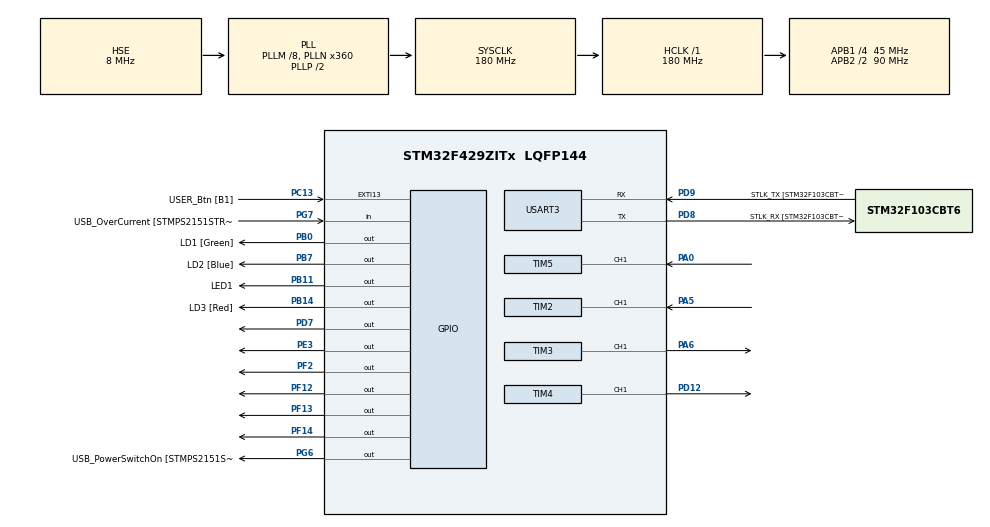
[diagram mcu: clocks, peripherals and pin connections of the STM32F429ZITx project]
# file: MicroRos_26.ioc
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Dma.Request0=USART3_RX
Dma.Request1=USART3_TX
Dma.USART3_RX.0.Direction=DMA_PERIPH_TO_MEMORY
Dma.USART3_RX.0.FIFOMode=DMA_FIFOMODE_DISABLE
Dma.USART3_RX.0.Instance=DMA1_Stream1
Dma.USART3_RX.0.MemDataAlignment=DMA_MDATAALIGN_BYTE
Dma.USART3_RX.0.MemInc=DMA_MINC_ENABLE
Dma.USART3_RX.0.Mode=DMA_CIRCULAR
Dma.USART3_RX.0.PeriphDataAlignment=DMA_PDATAALIGN_BYTE
Dma.USART3_RX.0.PeriphInc=DMA_PINC_DISABLE
Dma.USART3_RX.0.Priority=DMA_PRIORITY_VERY_HIGH
Dma.USART3_TX.1.Direction=DMA_MEMORY_TO_PERIPH
Dma.USART3_TX.1.FIFOMode=DMA_FIFOMODE_DISABLE
Dma.USART3_TX.1.Instance=DMA1_Stream3
Dma.USART3_TX.1.MemDataAlignment=DMA_MDATAALIGN_BYTE
Dma.USART3_TX.1.MemInc=DMA_MINC_ENABLE
Dma.USART3_TX.1.Mode=DMA_NORMAL
Dma.USART3_TX.1.PeriphDataAlignment=DMA_PDATAALIGN_BYTE
Dma.USART3_TX.1.PeriphInc=DMA_PINC_DISABLE
Dma.USART3_TX.1.Priority=DMA_PRIORITY_VERY_HIGH
FREERTOS.Tasks01=defaultTask,24,3000,StartDefaultTask,Default,NULL,Static,defaultTaskBuffer,defaultTaskControlBlock
Mcu.Family=STM32F4
Mcu.Name=STM32F429ZITx
Mcu.Package=LQFP144
NVIC.DMA1_Stream1_IRQn=true\:5\:0\:false\:false\:true\:true\:false\:true\:true
NVIC.DMA1_Stream3_IRQn=true\:5\:0\:false\:false\:true\:true\:false\:true\:true
NVIC.PriorityGroup=NVIC_PRIORITYGROUP_4
NVIC.TIM1_UP_TIM10_IRQn=true\:15\:0\:false\:false\:true\:false\:false\:true\:true
NVIC.TIM2_IRQn=true\:5\:0\:false\:false\:true\:true\:true\:true\:true
NVIC.TIM3_IRQn=true\:5\:0\:false\:false\:true\:true\:true\:true\:true
NVIC.TIM5_IRQn=true\:5\:0\:false\:false\:true\:true\:true\:true\:true
NVIC.TimeBase=TIM1_UP_TIM10_IRQn
NVIC.TimeBaseIP=TIM1
NVIC.USART3_IRQn=true\:5\:0\:false\:false\:true\:true\:true\:true\:true
PA0/WKUP.GPIO_Speed=GPIO_SPEED_FREQ_VERY_HIGH
PA0/WKUP.Signal=S_TIM5_CH1
PA1.GPIO_Label=RMII_REF_CLK [LAN8742A-CZ-TR_REFCLK0]
PA1.Signal=ETH_REF_CLK
PA10.GPIO_Label=USB_ID
PA10.Signal=USB_OTG_FS_ID
PA11.GPIO_Label=USB_DM
PA11.Signal=USB_OTG_FS_DM
PA12.GPIO_Label=USB_DP
PA12.Signal=USB_OTG_FS_DP
PA13.GPIO_Label=TMS
PA13.Mode=Serial_Wire
PA13.Signal=SYS_JTMS-SWDIO
PA14.GPIO_Label=TCK
PA14.Mode=Serial_Wire
PA14.Signal=SYS_JTCK-SWCLK
PA2.GPIO_Label=RMII_MDIO [LAN8742A-CZ-TR_MDIO]
PA2.Signal=ETH_MDIO
PA5.GPIO_Speed=GPIO_SPEED_FREQ_VERY_HIGH
PA5.Signal=S_TIM2_CH1_ETR
PA6.Signal=S_TIM3_CH1
PA7.GPIO_Label=RMII_CRS_DV [LAN8742A-CZ-TR_CRS_DV]
PA7.Signal=ETH_CRS_DV
PA8.GPIO_Label=USB_SOF [TP1]
PA8.Signal=USB_OTG_FS_SOF
PA9.GPIO_Label=USB_VBUS
PA9.Signal=USB_OTG_FS_VBUS
PB0.GPIO_Label=LD1 [Green]
PB0.Signal=GPIO_Output
PB11.GPIO_Label=LED1
PB11.GPIO_Speed=GPIO_SPEED_FREQ_VERY_HIGH
PB11.Signal=GPIO_Output
PB13.GPIO_Label=RMII_TXD1 [LAN8742A-CZ-TR_TXD1]
PB13.Signal=ETH_TXD1
PB14.GPIO_Label=LD3 [Red]
PB14.Signal=GPIO_Output
PB7.GPIO_Label=LD2 [Blue]
PB7.Signal=GPIO_Output
PC1.GPIO_Label=RMII_MDC [LAN8742A-CZ-TR_MDC]
PC1.Signal=ETH_MDC
PC13.GPIO_Label=USER_Btn [B1]
PC13.Signal=GPXTI13
PC14/OSC32_IN.Signal=RCC_OSC32_IN
PC15/OSC32_OUT.Signal=RCC_OSC32_OUT
PC4.GPIO_Label=RMII_RXD0 [LAN8742A-CZ-TR_RXD0]
PC4.Signal=ETH_RXD0
PC5.GPIO_Label=RMII_RXD1 [LAN8742A-CZ-TR_RXD1]
PC5.Signal=ETH_RXD1
PD12.Signal=S_TIM4_CH1
PD7.GPIO_ModeDefaultOutputPP=GPIO_MODE_OUTPUT_PP
PD7.GPIO_PuPd=GPIO_PULLUP
PD7.GPIO_Speed=GPIO_SPEED_FREQ_HIGH
PD7.PinState=GPIO_PIN_RESET
PD7.Signal=GPIO_Output
PD8.GPIO_Label=STLK_RX [STM32F103CBT6_PA3]
PD8.Mode=Asynchronous
PD8.Signal=USART3_TX
PD9.GPIO_Label=STLK_TX [STM32F103CBT6_PA2]
PD9.Mode=Asynchronous
PD9.Signal=USART3_RX
PE3.GPIO_ModeDefaultOutputPP=GPIO_MODE_OUTPUT_PP
PE3.GPIO_PuPd=GPIO_PULLUP
PE3.GPIO_Speed=GPIO_SPEED_FREQ_HIGH
PE3.PinState=GPIO_PIN_RESET
PE3.Signal=GPIO_Output
PF12.Signal=GPIO_Output
PF13.GPIO_ModeDefaultOutputPP=GPIO_MODE_OUTPUT_PP
PF13.GPIO_PuPd=GPIO_PULLUP
PF13.GPIO_Speed=GPIO_SPEED_FREQ_HIGH
PF13.PinState=GPIO_PIN_RESET
PF13.Signal=GPIO_Output
PF14.GPIO_ModeDefaultOutputPP=GPIO_MODE_OUTPUT_PP
PF14.GPIO_PuPd=GPIO_PULLUP
PF14.GPIO_Speed=GPIO_SPEED_FREQ_HIGH
PF14.PinState=GPIO_PIN_RESET
PF14.Signal=GPIO_Output
PF2.GPIO_ModeDefaultOutputPP=GPIO_MODE_OUTPUT_PP
PF2.GPIO_PuPd=GPIO_PULLUP
PF2.GPIO_Speed=GPIO_SPEED_FREQ_HIGH
PF2.PinState=GPIO_PIN_RESET
PF2.Signal=GPIO_Output
PG11.GPIO_Label=RMII_TX_EN [LAN8742A-CZ-TR_TXEN]
PG11.Signal=ETH_TX_EN
PG13.GPIO_Label=RMII_TXD0 [LAN8742A-CZ-TR_TXD0]
PG13.Signal=ETH_TXD0
PG6.GPIO_Label=USB_PowerSwitchOn [STMPS2151STR_EN]
PG6.Signal=GPIO_Output
PG7.GPIO_Label=USB_OverCurrent [STMPS2151STR_FAULT]
PG7.Signal=GPIO_Input
PH0/OSC_IN.GPIO_Label=MCO [STM32F103CBT6_PA8]
PH0/OSC_IN.Mode=HSE-External-Oscillator
PH0/OSC_IN.Signal=RCC_OSC_IN
PH1/OSC_OUT.Mode=HSE-External-Oscillator
PH1/OSC_OUT.Signal=RCC_OSC_OUT
ProjectManager.HeapSize=0x200
ProjectManager.StackSize=0x400
ProjectManager.TargetToolchain=STM32CubeIDE
RCC.48MHZClocksFreq_Value=90000000
RCC.AHBFreq_Value=180000000
RCC.APB1CLKDivider=RCC_HCLK_DIV4
RCC.APB1Freq_Value=45000000
RCC.APB1TimFreq_Value=90000000
RCC.APB2CLKDivider=RCC_HCLK_DIV2
RCC.APB2Freq_Value=90000000
RCC.APB2TimFreq_Value=180000000
RCC.CortexFreq_Value=180000000
RCC.HCLKFreq_Value=180000000
RCC.HSE_VALUE=8000000
RCC.HSI_VALUE=16000000
RCC.LSE_VALUE=32768
RCC.PLLM=8
RCC.PLLMUL=RCC_PLL_MUL9
RCC.PLLN=360
RCC.PLLSourceVirtual=RCC_PLLSOURCE_HSE
RCC.PRESCALERUSB=RCC_USBCLKSOURCE_PLL_DIV1_5
RCC.SYSCLKFreq_VALUE=180000000
RCC.SYSCLKSource=RCC_SYSCLKSOURCE_PLLCLK
RCC.SYSCLKSourceVirtual=RCC_SYSCLKSOURCE_PLLCLK
RCC.USBFreq_Value=48000000
RCC.VCOOutputFreq_Value=360000000
SH.S_TIM2_CH1_ETR.0=TIM2_CH1,Input_Capture1_from_TI1
SH.S_TIM3_CH1.0=TIM3_CH1,PWM Generation1 CH1
SH.S_TIM4_CH1.0=TIM4_CH1,PWM Generation1 CH1
SH.S_TIM5_CH1.0=TIM5_CH1,Input_Capture1_from_TI1
TIM2.Channel-Input_Capture1_from_TI1=TIM_CHANNEL_1
TIM2.Period=100
TIM2.Prescaler=9
TIM3.Channel-PWM\ Generation1\ CH1=TIM_CHANNEL_1
TIM3.Period=99
TIM3.Prescaler=89
TIM3.Pulse-PWM\ Generation1\ CH1=0
TIM4.Channel-PWM\ Generation1\ CH1=TIM_CHANNEL_1
TIM4.Period=99
TIM4.Prescaler=89
TIM4.Pulse-PWM\ Generation1\ CH1=0
TIM5.Channel-Input_Capture1_from_TI1=TIM_CHANNEL_1
TIM9.Period=9999
TIM9.Prescaler=8999
USART3.VirtualMode=VM_ASYNC
VP_FREERTOS_VS_CMSIS_V2.Mode=CMSIS_V2
VP_SYS_VS_tim1.Mode=TIM1
VP_TIM3_VS_ClockSourceINT.Mode=Internal
VP_TIM4_VS_ClockSourceINT.Mode=Internal
VP_TIM9_VS_ClockSourceINT.Mode=Internal
board=NUCLEO-F429ZI

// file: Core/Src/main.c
/* USER CODE BEGIN Header */
/**
  ******************************************************************************
  * @file           : main.c
  * @brief          : Main program body
  ******************************************************************************
  * @attention
  *
  * Copyright (c) 2024 STMicroelectronics.
  * All rights reserved.
  *
  * This software is licensed under terms that can be found in the LICENSE file
  * in the root directory of this software component.
  * If no LICENSE file comes with this software, it is provided AS-IS.
  *
  ******************************************************************************
  */
/* USER CODE END Header */
#include "main.h"
#include "cmsis_os.h"
#include "dma.h"
#include "tim.h"
#include "usart.h"
#include "gpio.h"

/* USER CODE BEGIN PD */

#define TxBufferSize	(countof(TxBuffer) - 1)
#define RxBufferSize	0xFF
#define countof(a)		(sizeof(a) / sizeof(*(a)))

/* USER CODE END PD */

/* USER CODE BEGIN PV */

uint8_t TxBuffer[] = "\n\rUART Example 1 (Transmission Success !! )\n\r\n\r";
uint8_t RxBuffer[RxBufferSize];

int count_sec = 0;
int turn_flag = 0;
int move_flag = 0;

/* USER CODE END PV */

void SystemClock_Config(void);
void MX_FREERTOS_Init(void);
/* USER CODE BEGIN PFP */

void LED_OnOff(int, int);

/* Usart printf() */
#ifdef __cplusplus
extern "C" int _write(int32_t file, uint8_t *ptr, int32_t len) {
#else
int _write(int32_t file, uint8_t *ptr, int32_t len) {
#endif
	if( HAL_UART_Transmit(&huart3, ptr, len, len) == HAL_OK ) return len;
	else return 0;
}

/* USER CODE END PFP */

int main(void)
{

  /* MCU Configuration--------------------------------------------------------*/

  /* Reset of all peripherals, Initializes the Flash interface and the Systick. */
  HAL_Init();

  /* Configure the system clock */
  SystemClock_Config();

  /* Initialize all configured peripherals */
  MX_GPIO_Init();
  MX_DMA_Init();
  MX_USART3_UART_Init();
  MX_TIM2_Init();
  MX_TIM3_Init();
  MX_TIM4_Init();
  MX_TIM9_Init();
  MX_TIM5_Init();
  /* USER CODE BEGIN 2 */

//  LED_OnOff(LED_ALL, 500);
  HAL_TIM_Base_Start_IT(&htim9);

  HAL_TIM_Base_Start_IT(&htim3);
  HAL_TIM_PWM_Start(&htim3, TIM_CHANNEL_1);
  HAL_TIM_Base_Start_IT(&htim4);
  HAL_TIM_PWM_Start(&htim4, TIM_CHANNEL_1);

//  HAL_TIM_Base_Start_IT(&htim2);
  HAL_TIM_IC_Start_IT(&htim2, TIM_CHANNEL_1);
//  HAL_TIM_IC_Start_IT(&htim2, TIM_CHANNEL_2);

//  HAL_TIM_Base_Start_IT(&htim5);
  HAL_TIM_IC_Start_IT(&htim5, TIM_CHANNEL_1);

  HAL_UART_Transmit(&huart3, (uint8_t*)TxBuffer, TxBufferSize , 0xFFFF);

  HAL_GPIO_WritePin(GPIOF, GPIO_PIN_12, RESET);	// Motor1 DIR - CCW
  HAL_GPIO_WritePin(GPIOF, GPIO_PIN_13, SET);	// Motor1 RUN/BRK - BRK
  HAL_GPIO_WritePin(GPIOF, GPIO_PIN_14, RESET);	// Motor1 START/STOP - START

  HAL_GPIO_WritePin(GPIOF, GPIO_PIN_2, RESET);	// Motor2 DIR - CCW
  HAL_GPIO_WritePin(GPIOD, GPIO_PIN_7, SET);	// Motor2 RUN/BRK - BRK
  HAL_GPIO_WritePin(GPIOE, GPIO_PIN_3, RESET);	// Motor2 START/STOP - START

  /* USER CODE END 2 */

  /* Init scheduler */
  osKernelInitialize();

  /* Call init function for freertos objects (in freertos.c) */
  MX_FREERTOS_Init();

  /* Start scheduler */
  osKernelStart();

  /* We should never get here as control is now taken by the scheduler */
  /* Infinite loop */
  while (1)
  {

  }
}

void SystemClock_Config(void)
{
  RCC_OscInitTypeDef RCC_OscInitStruct = {0};
  RCC_ClkInitTypeDef RCC_ClkInitStruct = {0};

  /** Configure the main internal regulator output voltage
  */
  __HAL_RCC_PWR_CLK_ENABLE();
  __HAL_PWR_VOLTAGESCALING_CONFIG(PWR_REGULATOR_VOLTAGE_SCALE1);

  /** Initializes the RCC Oscillators according to the specified parameters
  * in the RCC_OscInitTypeDef structure.
  */
  RCC_OscInitStruct.OscillatorType = RCC_OSCILLATORTYPE_HSE;
  RCC_OscInitStruct.HSEState = RCC_HSE_ON;
  RCC_OscInitStruct.PLL.PLLState = RCC_PLL_ON;
  RCC_OscInitStruct.PLL.PLLSource = RCC_PLLSOURCE_HSE;
  RCC_OscInitStruct.PLL.PLLM = 8;
  RCC_OscInitStruct.PLL.PLLN = 360;
  RCC_OscInitStruct.PLL.PLLP = RCC_PLLP_DIV2;
  RCC_OscInitStruct.PLL.PLLQ = 4;
  if (HAL_RCC_OscConfig(&RCC_OscInitStruct) != HAL_OK)
  {
    Error_Handler();
  }

  /** Activate the Over-Drive mode
  */
  if (HAL_PWREx_EnableOverDrive() != HAL_OK)
  {
    Error_Handler();
  }

  /** Initializes the CPU, AHB and APB buses clocks
  */
  RCC_ClkInitStruct.ClockType = RCC_CLOCKTYPE_HCLK|RCC_CLOCKTYPE_SYSCLK
                              |RCC_CLOCKTYPE_PCLK1|RCC_CLOCKTYPE_PCLK2;
  RCC_ClkInitStruct.SYSCLKSource = RCC_SYSCLKSOURCE_PLLCLK;
  RCC_ClkInitStruct.AHBCLKDivider = RCC_SYSCLK_DIV1;
  RCC_ClkInitStruct.APB1CLKDivider = RCC_HCLK_DIV4;
  RCC_ClkInitStruct.APB2CLKDivider = RCC_HCLK_DIV2;

  if (HAL_RCC_ClockConfig(&RCC_ClkInitStruct, FLASH_LATENCY_5) != HAL_OK)
  {
    Error_Handler();
  }
}

void HAL_TIM_PeriodElapsedCallback(TIM_HandleTypeDef *htim)
{
  if (htim->Instance == TIM1) {
    HAL_IncTick();
  }
  /* USER CODE BEGIN Callback 1 */
  if( htim->Instance == TIM3 ){
		if(turn_flag == 1){
			count_sec++;
		}
	}
  /* USER CODE END Callback 1 */
}

void Error_Handler(void)
{
  __disable_irq();
  while (1)
  {
  }
}

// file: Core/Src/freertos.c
/* USER CODE BEGIN Header */
/**
  *********************  *********************************************************
  * File Name          : freertos.c
  * Description        : Code for freertos applications
  ******************************************************************************
  * @attention
  *
  * Copyright (c) 2024 STMicroelectronics.
  * All rights reserved.
  *
  * This software is licensed under terms that can be found in the LICENSE file
  * in the root directory of this software component.
  * If no LICENSE file comes with this software, it is provided AS-IS.
  *
  ******************************************************************************
  */
/* USER CODE END Header */

#include "FreeRTOS.h"
#include "task.h"
#include "main.h"
#include "cmsis_os.h"

/* USER CODE BEGIN Includes */
#include <stdbool.h>
#include <rcl/rcl.h>
#include <rcl/error_handling.h>
#include <rclc/rclc.h>
#include <rclc/executor.h>
#include <uxr/client/transport.h>
#include <rmw_microxrcedds_c/config.h>
#include <rmw_microros/rmw_microros.h>

#include <std_msgs/msg/int32.h>
#include <std_msgs/msg/u_int16.h>
#include <std_msgs/msg/string.h>
#include <geometry_msgs/msg/twist.h>
#include <geometry_msgs/msg/detail/twist__struct.h>
#include <nav_msgs/msg/odometry.h>
#include <std_msgs/msg/float32.h>
#include <std_msgs/msg/float64.h>

#include "usart.h"
#include "tim.h"

//#include "math.h"
#include <math.h>
/* USER CODE END Includes */

typedef StaticTask_t osStaticThreadDef_t;

/* USER CODE BEGIN Variables */
/*
char Run_State = 'B';
char Motor_State = 'T';
char Run_Dir = 'F';
*/

#define _USE_MATH_DEFINES

char Run_State;
char Motor_State;
char Run_Dir;

// 선속도와 각속도의 모든 값을 변수에 저장
float linear_velocity_x;
float linear_velocity_y;
float linear_velocity_z;

float angular_velocity_x;
float angular_velocity_y;
float angular_velocity_z;

int m1_hall=0, m2_hall=0;

int m1_rev=0, m2_rev=0;
int m1_deg=0, m2_deg=0;
int m1_deg_10=0, m2_deg_10=0;
int m1_deg_10_p=0, m2_deg_10_p=0;
int m1_deg_1_10=0, m2_deg_1_10=0;
int m1_rpm=0, m2_rpm=0;
int m1_rpm_p=0, m2_rpm_p=0;
int m1_rpm_p_10=0, m2_rpm_p_10=0;

//std_msgs__msg__Int32 msg;
int hall1 = 0, hall2 = 0;

typedef struct{
	double vx, vy, vz;
} Twist_value;
/*
Twist_value Linear = {0, 0, 0};
Twist_value Angular = {0, 0, 0};*/
Twist_value Linear;
Twist_value Angular;

//int count_sec = 0;
//int turn_flag = 0;
int m_mode = 0; // 0: stop, 1: straight, 2: rotation mode
double pwm_p = 0;
double pwm_m = 0;

double angle;

int timeout = 10000000;

/* USER CODE END Variables */
/* Definitions for defaultTask */
osThreadId_t defaultTaskHandle;
uint32_t defaultTaskBuffer[ 3000 ];
osStaticThreadDef_t defaultTaskControlBlock;
const osThreadAttr_t defaultTask_attributes = {
  .name = "defaultTask",
  .cb_mem = &defaultTaskControlBlock,
  .cb_size = sizeof(defaultTaskControlBlock),
  .stack_mem = &defaultTaskBuffer[0],
  .stack_size = sizeof(defaultTaskBuffer),
  .priority = (osPriority_t) osPriorityNormal,
};

/* USER CODE BEGIN FunctionPrototypes */
bool cubemx_transport_open(struct uxrCustomTransport * transport);
bool cubemx_transport_close(struct uxrCustomTransport * transport);
size_t cubemx_transport_write(struct uxrCustomTransport* transport, const uint8_t * buf, size_t len, uint8_t * err);
size_t cubemx_transport_read(struct uxrCustomTransport* transport, uint8_t* buf, size_t len, int timeout, uint8_t* err);

void * microros_allocate(size_t size, void * state);
void microros_deallocate(void * pointer, void * state);
void * microros_reallocate(void * pointer, size_t size, void * state);
void * microros_zero_allocate(size_t number_of_elements, size_t size_of_element, void * state);

void messageCallback(const void *msgin);
void messageCallback_test1(const void *msgin);
void messageCallback_test2(const void *msgin);
void twist_subscription_callback(const void * msgin);

//my motor test functions

//int MOTION_MODE(double x, double y, double z);

void RUN_DIR(char);

void RUN_RB(char);
void MOTOR_SS(char);

double MOTOR_CAL_LINE_PWM(double,double,double);

void PWM_L(double);
void PWM_R(double);

double CAL_LinearSpeed(double x, double y, double z);
double CAL_AngularSpeed(double x, double y, double z);

//void TURN(double);

double TURN(double ang);
//int MOTION_MODE(double, double, double);
//void MOTION_MODE(double, double, double);
void MOTION_MODE(double lx, double ly, double lz, double ax, double ay, double az);

/* USER CODE END FunctionPrototypes */

void StartDefaultTask(void *argument);

void MX_FREERTOS_Init(void); /* (MISRA C 2004 rule 8.1) */

void MX_FREERTOS_Init(void) {

  /* Create the thread(s) */
  /* creation of defaultTask */
  defaultTaskHandle = osThreadNew(StartDefaultTask, NULL, &defaultTask_attributes);

}

void StartDefaultTask(void *argument)
{
  /* USER CODE BEGIN StartDefaultTask */
  /* USER CODE BEGIN 5 */

  // micro-ROS configuration

  rmw_uros_set_custom_transport(
    true,
    (void *) &huart3,
    cubemx_transport_open,
    cubemx_transport_close,
    cubemx_transport_write,
    cubemx_transport_read);

  rcl_allocator_t freeRTOS_allocator = rcutils_get_zero_initialized_allocator();
  freeRTOS_allocator.allocate = microros_allocate;
  freeRTOS_allocator.deallocate = microros_deallocate;
  freeRTOS_allocator.reallocate = microros_reallocate;
  freeRTOS_allocator.zero_allocate =  microros_zero_allocate;

  if (!rcutils_set_default_allocator(&freeRTOS_allocator)) {
      printf("Error on default allocators (line %d)\n", __LINE__);
  }

  // micro-ROS app

  rcl_publisher_t publisher;
  std_msgs__msg__Int32 msg;
//test
  rcl_publisher_t publisher_test;
  std_msgs__msg__Int32_test1 msg_test;

  rcl_subscription_t subscriber_test1;
  std_msgs__msg__Int32_test2 submsg_test1;

  rcl_subscription_t subscriber_test2;
  std_msgs__msg__Int32_test3 submsg_test2;
//
  rcl_publisher_t publisher_1;
  std_msgs__msg__Int32_pub1 pubmsg_1;

  rcl_publisher_t publisher_2;
  std_msgs__msg__Int32_pub2 pubmsg_2;

  rcl_subscription_t subscriber_2;
//  std_msgs__msg__String_sub1 submsg_1;
  geometry_msgs__msg__Twist submsg_2;
//  geometry_msgs__msg__Twist * submsg_2_1;

  rclc_support_t support;
  rcl_allocator_t allocator;
  rcl_node_t node;

  allocator = rcl_get_default_allocator();

  //create init_options
  rclc_support_init(&support, 0, NULL, &allocator);

  // create node
  rclc_node_init_default(&node, "cubemx_node", "", &support);

  // create publisher example
  rclc_publisher_init_default(
    &publisher,
    &node,
    ROSIDL_GET_MSG_TYPE_SUPPORT(std_msgs, msg, Int32),
    "cubemx_publisher");

  // create publisher_2
  rclc_publisher_init_default(
    &publisher_1,
    &node,
    ROSIDL_GET_MSG_TYPE_SUPPORT(std_msgs, msg, Int32),
    "r_enc");

  	  // r_wheel_vel
  // create publisher_3
  rclc_publisher_init_default(
    &publisher_2,
    &node,
    ROSIDL_GET_MSG_TYPE_SUPPORT(std_msgs, msg, Int32),
    "l_enc");

  	  //l_enc
  // create publisher_test
  rclc_publisher_init_default(
    &publisher_test,
    &node,
    ROSIDL_GET_MSG_TYPE_SUPPORT(std_msgs, msg, Int32),
    "cubemx_publisher_test");

  // create subscriber_test1
  rclc_subscription_init_default(
      &subscriber_2,
      &node,
//      ROSIDL_GET_MSG_TYPE_SUPPORT(geometry_msgs, msg, twist),
      ROSIDL_GET_MSG_TYPE_SUPPORT(geometry_msgs, msg, Twist),
      "diffbot_base_controller/cmd_vel_unstamped");

  // create subscriber_test2
/*  rclc_subscription_init_default(
      &subscriber_test2,
      &node,
      ROSIDL_GET_MSG_TYPE_SUPPORT(std_msgs, msg, Int32),
//	    "cubemx_publisher_test");
        "r_wheel_vel");*/

  // create subscriber
/*  rclc_subscription_init_default(
      &subscriber_1,
      &node,
      ROSIDL_GET_MSG_TYPE_SUPPORT(std_msgs, msg, String),
      "r_wheel_vel_String");*/

  // add subscriber to executor
  rclc_executor_t executor;
  rclc_executor_init(&executor, &support.context, 1, &allocator);
//  rclc_executor_add_subscription(&executor, &subscriber_1, &submsg_1, &messageCallback, ON_NEW_DATA);

//  rclc_executor_add_subscription(&executor, &subscriber_test1, &submsg_test1, &messageCallback_test1, ON_NEW_DATA);
//  rclc_executor_add_subscription(&executor, &subscriber_1, &submsg_test2, &twist_subscription_callback, ON_NEW_DATA);
  rclc_executor_add_subscription(&executor, &subscriber_2, &submsg_2, &twist_subscription_callback, ON_NEW_DATA);

  msg.data = 0;
  pubmsg_1.hall_1 = 0;
  pubmsg_2.hall_2 = 0;

//  RUN_INIT();

  for(;;)
  {
    // publish message
//    rcl_ret_t ret = rcl_publish(&publisher, &msg, NULL);
	 rcl_ret_t ret_3 = rcl_publish(&publisher_2, &pubmsg_2, NULL);
	 rcl_ret_t ret_2 = rcl_publish(&publisher_1, &pubmsg_1, NULL);
//    rcl_ret_t ret = rcl_publish(&publisher, &msg, NULL);
    rcl_ret_t ret_test = rcl_publish(&publisher_test, &msg_test, NULL);
/*    if (ret != RCL_RET_OK)
    {
      printf("Error publishing (line %d)\n", __LINE__);
    }*/
    if (ret_2 != RCL_RET_OK)
    {
      printf("Error publishing (line %d)\n", __LINE__);
    }
    if (ret_3 != RCL_RET_OK)
    {
      printf("Error publishing (line %d)\n", __LINE__);
    }

    // subscribe message
//    rclc_executor_spin(&executor);
//    rclc_executor_spin_some(&executor, timeout);
//    rclc_executor_spin_one_period(&executor, timeout);

    // hall pulse count
	pubmsg_1.hall_1 = hall1;
	pubmsg_2.hall_2 = hall2;

    // reset the hall sensor data
	hall1 = 0;
	hall2 = 0;

/*
	Linear.vx = submsg_2_1->linear.x;
	Linear.vy = submsg_2_1->linear.y;
	Linear.vz = submsg_2_1->linear.z;*/

/*	Linear.vx = submsg_2.linear.x;
	Linear.vy = submsg_2.linear.y;
	Linear.vz = submsg_2.linear.z;*/

	// move the robot.
//	MOTION_MODE(Linear.vx, Linear.vy, Linear.vz);
/*
	if(m_mode == 0){
		// robot stop
		Run_State = 'B';
//		HAL_GPIO_WritePin(GPIOF, GPIO_PIN_13, SET);	// Motor1 RUN/BRK - BRK
//		HAL_GPIO_WritePin(GPIOD, GPIO_PIN_7, SET);	// Motor2 RUN/BRK - BRK
	}
	else if(m_mode == 1){
		// robot move straight
		if(Linear.vx >0){
			Run_Dir = 'F';
			Run_State = 'U';
			PWM_R(CAL_LinearSpeed(Linear.vx, Linear.vy, Linear.vz));
			PWM_L(CAL_LinearSpeed(Linear.vx, Linear.vy, Linear.vz));
		}
		else if (Linear.vx < 0)
		{
			Run_Dir = 'O';
			Run_State = 'U';
			PWM_R(CAL_LinearSpeed(Linear.vx, Linear.vy, Linear.vz));
			PWM_L(CAL_LinearSpeed(Linear.vx, Linear.vy, Linear.vz));
		}

	}
	else if(m_mode == 2){
		// robot move rotation
		if(Linear.vx==0 && Linear.vy==0){
			if(Angular.vz > 0){
				Run_Dir = 'L';
				Run_State = 'U';
			}
			else if(Angular.vz < 0){
				Run_Dir = 'R';
				Run_State = 'U';
			}
			PWM_R(TURN(Angular.vz));
			PWM_L(TURN(Angular.vz));
		}
*/
/*
	// 좌회전
	if(m_mode == 1){
		Run_State = 'U';
		PWM_R(CAL_LinearSpeed(Linear.vx, Linear.vy, Linear.vz) + CAL_AngularSpeed(Angular.vx, Angular.vy, Angular.vz));
		PWM_L(CAL_LinearSpeed(Linear.vx, Linear.vy, Linear.vz) - CAL_AngularSpeed(Angular.vx, Angular.vy, Angular.vz));
	}
	// 우회전
	else if(m_mode == 2){
		Run_State = 'U';
		PWM_R(CAL_LinearSpeed(Linear.vx, Linear.vy, Linear.vz) - CAL_AngularSpeed(Angular.vx, Angular.vy, Angular.vz));
		PWM_L(CAL_LinearSpeed(Linear.vx, Linear.vy, Linear.vz) + CAL_AngularSpeed(Angular.vx, Angular.vy, Angular.vz));
	}
	else {
		// robot stop
		Run_State = 'B';
	}*/

	pwm_p = CAL_LinearSpeed(Linear.vx, Linear.vy, Linear.vz) + CAL_AngularSpeed(Angular.vx, Angular.vy, Angular.vz);
	pwm_m = CAL_LinearSpeed(Linear.vx, Linear.vy, Linear.vz) - CAL_AngularSpeed(Angular.vx, Angular.vy, Angular.vz);

	// 좌회전
	if(m_mode == 0){
		Run_State = 'B';
		PWM_R(0);
		PWM_L(0);
	}
	// 우회전
	else if(m_mode == 1){
		Run_State = 'U';
//		Run_Dir = 'F';

		if(pwm_m<0){
			Run_Dir = 'R';
		}
		else if(pwm_m>=0){
			Run_Dir = 'F';
		}
		PWM_R(fabs(pwm_m));
		PWM_L(pwm_p);
	}
	else if(m_mode == 2){
		Run_State = 'U';
//		Run_Dir = 'F';
		if(pwm_m<0){
			Run_Dir = 'L';
		}
		else if(pwm_m>=0){
			Run_Dir = 'F';
		}
		PWM_R(pwm_p);
		PWM_L(fabs(pwm_m));
	}
	else if(m_mode == 3){
		Run_State = 'U';
//		Run_Dir = 'O';
		if(pwm_m<0){
			Run_Dir = 'R';
		}
		else if(pwm_m>=0){
			Run_Dir = 'O';
		}
		PWM_R(pwm_p);
		PWM_L(fabs(pwm_m));
	}
	else if(m_mode == 4){
		Run_State = 'U';
//		Run_Dir = 'O';
		if(pwm_m<0){
			Run_Dir = 'L';
		}
		else if(pwm_m>=0){
			Run_Dir = 'O';
		}
		PWM_R(fabs(pwm_m));
		PWM_L(pwm_p);
	}
	else if(m_mode == 5){
		Run_State = 'U';
		Run_Dir = 'F';
		PWM_R(CAL_LinearSpeed(Linear.vx, Linear.vy, Linear.vz));
		PWM_L(CAL_LinearSpeed(Linear.vx, Linear.vy, Linear.vz));
	}
	else if(m_mode == 6){
		Run_State = 'U';
		Run_Dir = 'O';
		PWM_R(CAL_LinearSpeed(Linear.vx, Linear.vy, Linear.vz));
		PWM_L(CAL_LinearSpeed(Linear.vx, Linear.vy, Linear.vz));
	}

		/*
		angle = CAL_ANG(Linear.vx, Linear.vy, Linear.vz);
		TURN(angle);*/
//	}

	// Motor activate
//    RUN_DIR('F');
//    RUN_RB('U');
    RUN_RB(Run_State);
    MOTOR_SS(Motor_State);
    RUN_DIR(Run_Dir);

    rclc_executor_spin_some(&executor, timeout);

        osDelay(10);
      }
  /* USER CODE END StartDefaultTask */
}

/* USER CODE BEGIN Application */

	// 기본 ?��?��(default task) ?��?��?�� 구독 콜백 ?��?��
	void messageCallback(const void *msgin) {
		const std_msgs__msg__String_sub1 *msg = (const std_msgs__msg__String_sub1 *)msgin;
		printf("Received: %s\n", msg->dir_1);
	}

	void messageCallback_test1(const void *msgin) {
		const std_msgs__msg__Int32_test2 *msg = (const std_msgs__msg__Int32_test2 *)msgin;
		printf("Received: %d\n", msg->test_2);
	}

	void messageCallback_test2(const void *msgin) {
		const std_msgs__msg__Int32_test3 *msg = (const std_msgs__msg__Int32_test3 *)msgin;
		printf("Received: %d\n", msg->test_3);
	}

	void twist_subscription_callback(const void * msgin)
	{
	    const geometry_msgs__msg__Twist * msg = (const geometry_msgs__msg__Twist *)msgin;

	    HAL_GPIO_TogglePin(LED1_GPIO_Port, LED1_Pin);

/*		Run_State = 'U';
		Run_Dir = 'F';
		Motor_State = 'T';*/

//    	m_mode = 1;

/*	    if(m_mode == 0){
	    	m_mode = 1;
	    }
	    else{
	    	m_mode =0;
	    }*/

	    // 선속도와 각속도의 모든 값을 변수에 저장
/*	    float linear_velocity_x = msg->linear.x;
	    float linear_velocity_y = msg->linear.y;
	    float linear_velocity_z = msg->linear.z;

	    float angular_velocity_x = msg->angular.x;
	    float angular_velocity_y = msg->angular.y;
	    float angular_velocity_z = msg->angular.z;*/

/*		Linear.vx = submsg_2.linear.x;
		Linear.vy = submsg_2.linear.y;
		Linear.vz = submsg_2.linear.z;

		Angular.vx = submsg_2.angular.x;
		Angular.vy = submsg_2.angular.y;
		Angular.vz = submsg_2.angular.z;*/

	    // 선속도와 각속도의 모든 값을 변수에 저장
/*	    linear_velocity_x = msg->linear.x;
	    linear_velocity_y = msg->linear.y;
	    linear_velocity_z = msg->linear.z;

	    angular_velocity_x = msg->angular.x;
	    angular_velocity_y = msg->angular.y;
	    angular_velocity_z = msg->angular.z;*/

		Linear.vx = msg->linear.x;
		Linear.vy = msg->linear.y;
		Linear.vz = msg->linear.z;

		Angular.vx = msg->angular.x;
		Angular.vy = msg->angular.y;
		Angular.vz = msg->angular.z;

		MOTION_MODE(Linear.vx, Linear.vy, Linear.vz, Angular.vx, Angular.vy, Angular.vz);
/*		if(Linear.vy != 0)	m_mode = 2;
		else if(Linear.vy == 0){
			if(Linear.vx == 0)	m_mode = 0;
			else		m_mode = 1;
		}*/

	    // 저장된 값을 출력
/*	    printf("Received Twist - Linear Velocity (X: %f, Y: %f, Z: %f), Angular Velocity (X: %f, Y: %f, Z: %f)\n",
	           linear_velocity_x, linear_velocity_y, linear_velocity_z,
	           angular_velocity_x, angular_velocity_y, angular_velocity_z);*/

	    // MOTION_MODE 함수를 호출하여 m_mode 설정
//		m_mode = MOTION_MODE(linear_velocity_x, linear_velocity_y, linear_velocity_z);
//		MOTION_MODE(Linear.vx, Linear.vy, Linear.vz);
//		m_mode = MOTION_MODE(Linear.vx, Linear.vy, Linear.vz);
//		m_mode = 1;
	}

	// Motor function
	void RUN_INIT(void){
		  HAL_GPIO_WritePin(GPIOF, GPIO_PIN_13, SET);	// Motor1 RUN/BRK - BRK
		  HAL_GPIO_WritePin(GPIOF, GPIO_PIN_14, SET);	// Motor1 START/STOP - STOP
	  	  HAL_GPIO_WritePin(GPIOD, GPIO_PIN_7, SET);	// Motor2 RUN/BRK - BRK
	  	  HAL_GPIO_WritePin(GPIOE, GPIO_PIN_3, SET);	// Motor2 START/STOP - STOP
	}

	void RUN_DIR(char dir){

		if(dir == 'F'){			// Front
			HAL_GPIO_WritePin(GPIOF, GPIO_PIN_12, SET);		// Motor1 DIR - CW
		    HAL_GPIO_WritePin(GPIOF, GPIO_PIN_2, RESET);	// Motor2 DIR - CCW
		}
		else if(dir == 'O'){	// Back
			HAL_GPIO_WritePin(GPIOF, GPIO_PIN_12, RESET);		// Motor1 DIR - CCW
		    HAL_GPIO_WritePin(GPIOF, GPIO_PIN_2, SET);	// Motor2 DIR - CW
		}
		else if(dir == 'L'){	// Left
			HAL_GPIO_WritePin(GPIOF, GPIO_PIN_12, SET);		// Motor1 DIR - CW
		    HAL_GPIO_WritePin(GPIOF, GPIO_PIN_2, SET);	// Motor2 DIR - CW
		}
		else if(dir == 'R'){	// Right
			HAL_GPIO_WritePin(GPIOF, GPIO_PIN_12, RESET);		// Motor1 DIR - CCW
		    HAL_GPIO_WritePin(GPIOF, GPIO_PIN_2, RESET);	// Motor2 DIR - CCW
		}
	}

	void RUN_RB(char runstate){

		if(runstate == 'U'){
			HAL_GPIO_WritePin(GPIOF, GPIO_PIN_13, RESET);	// Motor1 RUN/BRK - RUN
			HAL_GPIO_WritePin(GPIOD, GPIO_PIN_7, RESET);	// Motor2 RUN/BRK - RUN
		}
		else if(runstate == 'B'){
		  	  HAL_GPIO_WritePin(GPIOF, GPIO_PIN_13, SET);	// Motor1 RUN/BRK - BRK
		  	  HAL_GPIO_WritePin(GPIOD, GPIO_PIN_7, SET);	// Motor2 RUN/BRK - BRK
		}
	}

	void MOTOR_SS(char motorstate){

		if(motorstate == 'T'){
		    HAL_GPIO_WritePin(GPIOF, GPIO_PIN_14, RESET);	// Motor1 START/STOP - START
		    HAL_GPIO_WritePin(GPIOE, GPIO_PIN_3, RESET);	// Motor2 START/STOP - START
		}
		else if(motorstate == 'P'){
		  	  HAL_GPIO_WritePin(GPIOF, GPIO_PIN_14, SET);	// Motor1 START/STOP - STOP
		  	  HAL_GPIO_WritePin(GPIOE, GPIO_PIN_3, SET);	// Motor2 START/STOP - STOP
		}
	}

	void HAL_TIM_IC_CaptureCallback(TIM_HandleTypeDef *htim)
	{
		if ( htim->Instance == TIM2){

			// Motor1
			if(htim->Channel == HAL_TIM_ACTIVE_CHANNEL_1)
			{
				// - CW
				if(HAL_GPIO_ReadPin(GPIOF, GPIO_PIN_12) == 1){
					hall1 = hall1 + 1;
				}
				// - CCW
				else if(HAL_GPIO_ReadPin(GPIOF, GPIO_PIN_12) == 0){
					hall1 = hall1 - 1;
				}
			}
		}

		if ( htim->Instance == TIM5){

					// Motor2
			if(htim->Channel == HAL_TIM_ACTIVE_CHANNEL_1)
			{
				// - CW
				if(HAL_GPIO_ReadPin(GPIOF, GPIO_PIN_2) == 1){
					hall2 = hall2 - 1;
				}
				// - CCW
				else if(HAL_GPIO_ReadPin(GPIOF, GPIO_PIN_2) == 0){
					hall2 = hall2 + 1;
				}
			}
		}

	}

/*	void HAL_TIM_PeriodElapsedCallback(TIM_HandleTypeDef *htim)
	{
		if( htim->Instance == TIM3 ){
			if(turn_flag == 1){
				count_sec++;
			}
		}
*/

	void PWM_R(double duty){
		__HAL_TIM_SET_COMPARE(&htim4, TIM_CHANNEL_1, (int)duty-1);
	}
	void PWM_L(double duty){
		__HAL_TIM_SET_COMPARE(&htim3, TIM_CHANNEL_1, (int)duty-1);
	}

	// Calculate the final speed.
	double CAL_LinearSpeed(double x, double y, double z)
	{
		double distance = 0;
		double duty_percent = 0;

		if(x < 0){
			distance = -x;
		}
		else{
			distance = x;
		}

		duty_percent = distance * (20.0/(0.0965*M_PI));

		return duty_percent;
	}

	// Calculate the angle at which the robot should turn.

	double CAL_AngularSpeed(double x, double y, double z)
	{
		double wheel_pwm = 0;
		double angular = 0;

		if(z < 0){
					angular = -z;
				}
		else{
			angular = z;
		}

		wheel_pwm = (100*0.38*angular)/(5*M_PI*0.0965*2);

		return wheel_pwm;
	}

	void MOTION_MODE(double lx, double ly, double lz, double ax, double ay, double az)
	{
		/*
	    if(lx == 0 && az == 0) {
	        m_mode = 0; // 정지
	    }
	    else {
	    	if(az >= 0){
	    		if(lx > 0){
	    			m_mode = 2; // 2사분면
	    		}
	    		else if(lx < 0){
	    			m_mode = 4; // 4사분면
	    		}
	    	}
	    	else if(az < 0){
	    		if(lx >= 0){
	    			m_mode = 1; // 1사분면
	    		}
	    		else if(lx < 0){
	    			m_mode = 3; // 3사분면
	    		}
	    	}
	    }
	    */

	    if(lx == 0 && az == 0) {
	        m_mode = 0; // 정지
	    }
	    else{
	    	if(az == 0){
	    		if(lx>0){
	    			m_mode = 5; // 직진
	    		}
	    		else if(lx<0){
	    			m_mode = 6; // 후진
	    		}
	    	}
	    	else if(az > 0){
	    		if(lx >= 0){
	    			m_mode = 2; // 2사분면
	    		}
	    		else if(lx < 0){
	    			m_mode = 4; // 4사분면
	    		}
	    	}
	    	else if(az < 0){
	    		if(lx >= 0){
	    			m_mode = 1; // 1사분면
	    		}
	    		else if(lx < 0){
	    			m_mode = 3; // 3사분면
	    		}
	    	}
	    }
	}
	/*
	void MOTION_MODE(double lx, double ly, double lz, double ax, double ay, double az)
	{
	    if(lx == 0 && ly == 0) {
	        m_mode = 0; // 정지
	    }
	    else {
	    	if(az < 0){
		        m_mode = 2;
	    	}
	    	else{
	    		m_mode = 1;
	    	}
	    }
	}
*/
/*
	void MOTION_MODE(double lx, double ly, double lz, double ax, double ay, double az)
	{
		if(az != 0)	m_mode = 2;
		else if(ly == 0){
			if(lx == 0)	m_mode = 0;
			else		m_mode = 1;
		}
	}
	*/
/*
	void MOTION_MODE(double lx, double ly, double lz, double ax, double ay, double az)
		{
			if(y != 0)	m_mode = 2;
			else if(y == 0){
				if(x == 0)	m_mode = 0;
				else		m_mode = 1;
			}
		}*/
/*
	int MOTION_MODE(double x, double y, double z)
	{
		if(y != 0)	return 2;
		else if(y == 0){
			if(x == 0)	return 0;
			else		return 1;
		}
	}
*/
	/*
	int MOTION_MODE(double x, double y, double z)
	{
	    if(y != 0)	return 2;
	    if(x == 0)	return 0;
	    return 1;
	}
*/

/*	double MOTOR_CAL_LINE_PWM(double x, double y, double z){
	}
*/

/* USER CODE END Application */
